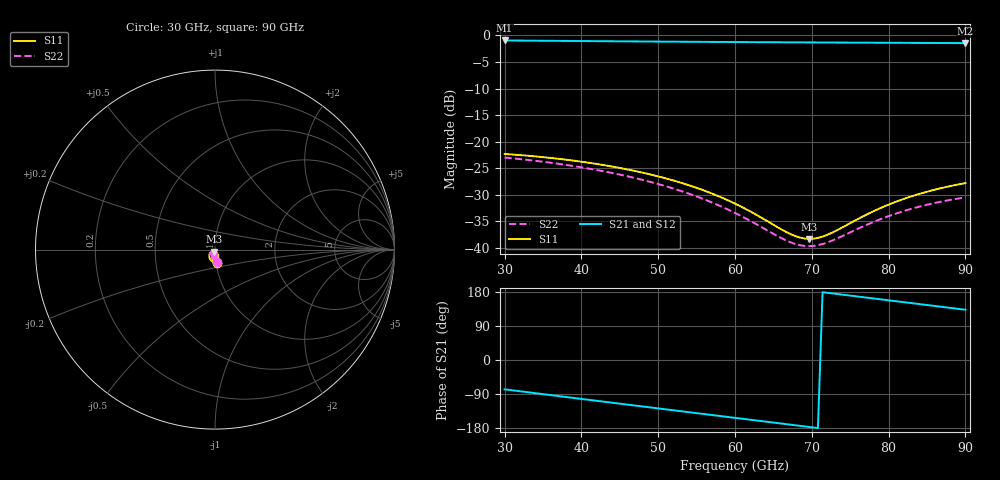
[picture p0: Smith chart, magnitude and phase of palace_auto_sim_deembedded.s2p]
! Created with skrf 1.11.0 (http://scikit-rf.org).
# GHz S DB R 50.0
!freq dBS11 angS11 dBS21 angS21 dBS12 angS12 dBS22 angS22
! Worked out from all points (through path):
!   101 points, 30 GHz to 90 GHz, reference 50 ohm
!   highest |S21| = -0.97 dB at 30 GHz (marker M1); lowest = -1.5 dB at 90 GHz (marker M2)
!   group delay of S21, straight-line fit = 6.93 ps
!   lowest |S11| = -38.3 dB at 69.6 GHz (marker M3), VSWR 1.02, Z = 49.6 - j1.13 ohm
!   |S11| at or under -10 dB: start of sweep to end of sweep
!   |S22| runs from -39.6 to -23.0 dB; largest |S21 - S12| = 9.9e-14
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30  -22.30 -81.0  -0.97 -77.5  -0.97 -77.5  -22.98 -81.6
32.4  -22.56 -87.8  -0.99 -83.5  -0.99 -83.5  -23.33 -88.6
34.8  -22.88 -94.4  -1.02 -89.6  -1.02 -89.6  -23.73 -95.5
37.2  -23.25 -101.0  -1.05 -95.6  -1.05 -95.6  -24.19 -102.2
40.2  -23.80 -108.9  -1.08 -103.2  -1.08 -103.2  -24.87 -110.5
45  -24.94 -121.0  -1.13 -115.2  -1.13 -115.2  -26.19 -123.2
50.4  -26.67 -133.3  -1.18 -128.7  -1.18 -128.7  -28.13 -136.2
55.2  -28.78 -142.1  -1.22 -140.7  -1.22 -140.7  -30.40 -145.6
57.6  -30.10 -145.3  -1.24 -146.7  -1.24 -146.7  -31.80 -148.9
60  -31.64 -146.9  -1.26 -152.7  -1.26 -152.7  -33.40 -150.6
63.6  -34.42 -144.2  -1.29 -161.6  -1.29 -161.6  -36.18 -148.0
66.6  -36.92 -133.2  -1.31 -169.1  -1.31 -169.1  -38.52 -137.2
68.4  -38.00 -120.9  -1.33 -173.6  -1.33 -173.6  -39.44 -126.0
69.6  -38.27 -110.9  -1.33 -176.6  -1.33 -176.6  -39.64 -117.3
70.2  -38.24 -105.9  -1.34 -178.1  -1.34 -178.1  -39.59 -112.9
71.4  -37.84 -96.4  -1.35 178.9  -1.35 178.9  -39.24 -104.9
72.6  -37.13 -88.6  -1.35 175.9  -1.35 175.9  -38.62 -98.4
76.2  -34.38 -76.1  -1.38 167.0  -1.38 167.0  -36.24 -88.1
80.4  -31.60 -74.3  -1.41 156.5  -1.41 156.5  -33.79 -87.6
82.8  -30.36 -76.2  -1.42 150.6  -1.42 150.6  -32.69 -90.1
85.2  -29.33 -79.1  -1.44 144.6  -1.44 144.6  -31.79 -93.6
90  -27.79 -86.7  -1.47 132.6  -1.47 132.6  -30.48 -102.4
